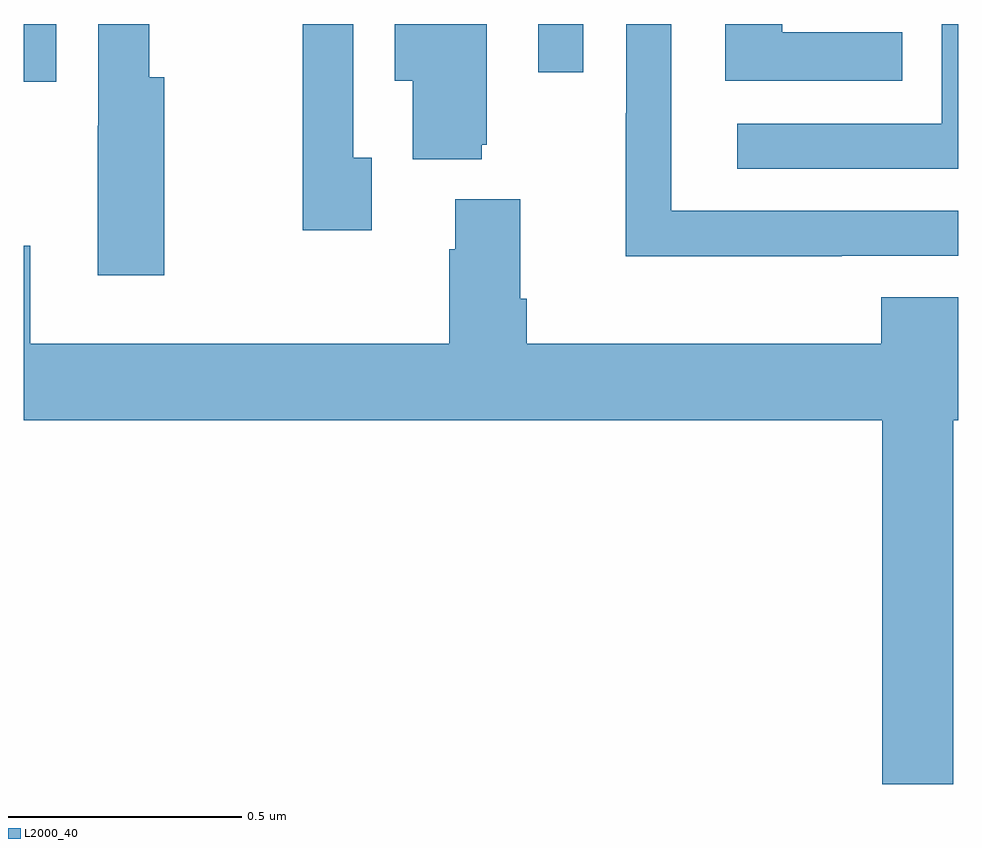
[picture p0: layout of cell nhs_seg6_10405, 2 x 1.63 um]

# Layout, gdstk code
import gdstk
lib = gdstk.Library(unit=1e-6, precision=1e-09)
def R(c, l, rs):  # rectangles x0, y0, x1, y1
    for r in rs: c.add(gdstk.rectangle(r[:2], r[2:], *l))
def P(c, l, *ps):  # polygons
    for p in ps: c.add(gdstk.Polygon(p, *l))
L2000_40 = (2000, 40)

nhs_seg6_10405 = lib.new_cell('nhs_seg6_10405')
R(nhs_seg6_10405, L2000_40, [(246,965.376,246.069,965.5), (247.101,965.397,247.197,965.5)])
P(nhs_seg6_10405, L2000_40, [(246.745,965.214),(246.705,965.214),(246.705,965.5),(246.597,965.5),(246.597,965.058),(246.745,965.058)],
  [(248,965.5),(247.965,965.5),(247.965,965.286),(247.527,965.286),(247.527,965.19),(248,965.19)],
  [(247.751,965.004),(248,965.004),(248,965.1),(247.386,965.1),(247.386,965.5),(247.29,965.5),(247.29,965.309),(247.288,965.309),(247.288,965.003),(247.751,965.003)],
  [(247.88,965.482),(247.623,965.482),(247.623,965.5),(247.502,965.5),(247.502,965.378),(247.88,965.378)],
  [(246.98,965.241),(246.991,965.241),(246.991,965.5),(246.794,965.5),(246.794,965.378),(246.833,965.378),(246.833,965.21),(246.98,965.21)],
  [(246.3,965.386),(246.268,965.386),(246.268,965.5),(246.159,965.5),(246.159,965.282),(246.158,965.282),(246.158,964.962),(246.3,964.962)],
  [(247.99,964.652),(248,964.652),(248,964.915),(247.835,964.915),(247.835,964.816),(247.076,964.816),(247.076,964.912),(247.063,964.912),(247.063,965.125),(246.923,965.125),(246.923,965.018),(246.911,965.018),(246.911,964.816),(246.014,964.816),(246.014,965.025),(246,965.025),(246,964.652),(247.838,964.652),(247.838,963.873),(247.99,963.873)])

lib.write_gds('nhs_seg6_10405.gds')
